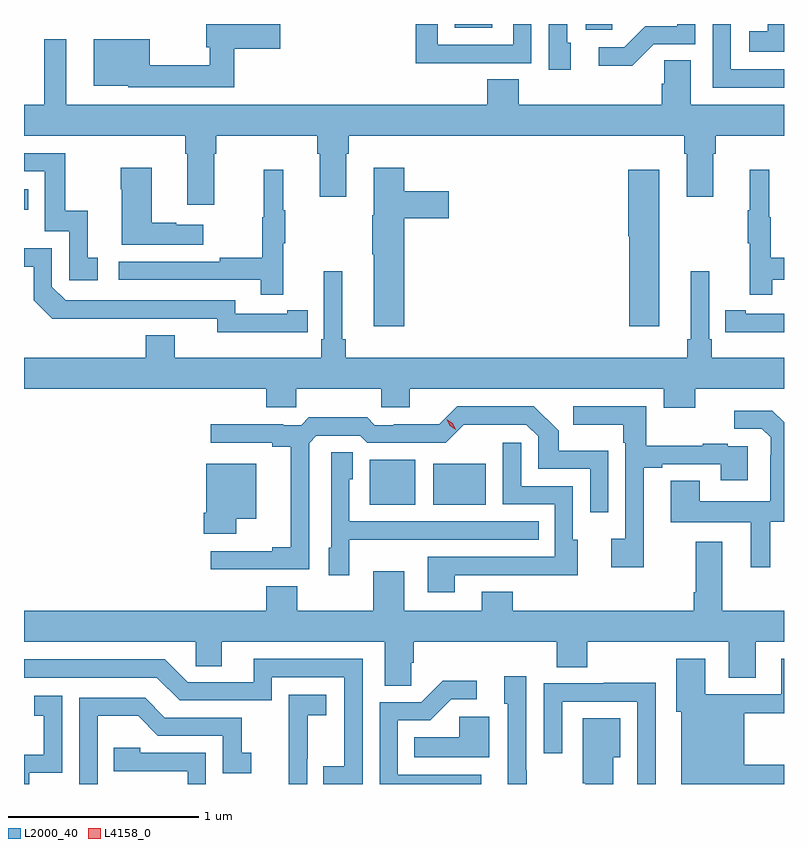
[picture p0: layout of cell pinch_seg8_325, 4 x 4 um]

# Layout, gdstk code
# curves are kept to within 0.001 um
import gdstk
lib = gdstk.Library(unit=1e-6, precision=1e-09)
def R(c, l, rs):  # rectangles x0, y0, x1, y1
    for r in rs: c.add(gdstk.rectangle(r[:2], r[2:], *l))
def P(c, l, *ps):  # polygons
    for p in ps: c.add(gdstk.Polygon(p, *l))
L2000_40 = (2000, 40)
L4158_0 = (4158, 0)

pinch_seg8_325 = lib.new_cell('pinch_seg8_325')
R(pinch_seg8_325, L2000_40, [(396.641,1123.883,396.88,1124.119), (396.974,1123.883,397.252,1124.098), (394.821,1125.435,394.844,1125.541), (397.778,1126.382,397.917,1126.412), (397.088,1126.391,397.285,1126.412)])
P(pinch_seg8_325, L2000_40, [(397.175,1126.206),(397.491,1126.206),(397.491,1126.412),(397.395,1126.412),(397.395,1126.302),(396.999,1126.302),(396.999,1126.412),(396.883,1126.412),(396.883,1126.205),(397.175,1126.205)],
  [(398.136,1126.305),(398.355,1126.305),(398.355,1126.412),(398.259,1126.412),(398.259,1126.401),(398.09,1126.401),(397.979,1126.29),(397.845,1126.29),(397.845,1126.193),(398.023,1126.193)],
  [(395.927,1126.282),(396.169,1126.282),(396.169,1126.412),(395.78,1126.412),(395.78,1126.289),(395.799,1126.289),(395.799,1126.196),(395.482,1126.196),(395.482,1126.333),(395.189,1126.333),(395.189,1126.088),(395.37,1126.088),(395.37,1126.08),(395.927,1126.08)],
  [(398.821,1126.412),(398.735,1126.412),(398.735,1126.375),(398.637,1126.375),(398.637,1126.265),(398.821,1126.265)],
  [(398.821,1126.173),(398.541,1126.173),(398.541,1126.412),(398.445,1126.412),(398.445,1126.077),(398.821,1126.077)],
  [(397.699,1126.314),(397.68,1126.314),(397.68,1126.412),(397.584,1126.412),(397.584,1126.17),(397.699,1126.17)],
  [(395.821,1125.728),(395.834,1125.728),(395.834,1125.824),(396.365,1125.824),(396.365,1125.728),(396.377,1125.728),(396.377,1125.504),(396.517,1125.504),(396.517,1125.728),(396.53,1125.728),(396.53,1125.824),(398.297,1125.824),(398.297,1125.728),(398.309,1125.728),(398.309,1125.504),(398.449,1125.504),(398.449,1125.728),(398.462,1125.728),(398.462,1125.824),(398.821,1125.824),(398.821,1125.988),(398.329,1125.988),(398.329,1126.22),(398.19,1126.22),(398.19,1126.097),(398.177,1126.097),(398.177,1125.988),(397.424,1125.988),(397.424,1126.121),(397.259,1126.121),(397.259,1125.988),(395.044,1125.988),(395.044,1126.333),(394.927,1126.333),(394.927,1125.988),(394.821,1125.988),(394.821,1125.824),(395.669,1125.824),(395.669,1125.728),(395.681,1125.728),(395.681,1125.462),(395.821,1125.462)],
  [(395.209,1125.183),(395.156,1125.183),(395.156,1125.43),(395.038,1125.43),(395.038,1125.732),(394.821,1125.732),(394.821,1125.636),(394.929,1125.636),(394.929,1125.321),(395.058,1125.321),(395.058,1125.063),(395.209,1125.063)],
  [(396.821,1125.389),(397.057,1125.389),(397.057,1125.531),(396.821,1125.531),(396.821,1125.655),(396.662,1125.655),(396.662,1125.405),(396.655,1125.405),(396.655,1125.199),(396.662,1125.199),(396.662,1124.82),(396.821,1124.82)],
  [(395.764,1125.355),(395.621,1125.355),(395.621,1125.365),(395.494,1125.365),(395.494,1125.655),(395.329,1125.655),(395.329,1125.542),(395.336,1125.542),(395.336,1125.251),(395.764,1125.251)],
  [(398.164,1125.646),(398,1125.646),(398,1125.294),(398.006,1125.294),(398.006,1124.82),(398.164,1124.82)],
  [(396.185,1125.259),(396.196,1125.259),(396.196,1125.433),(396.185,1125.433),(396.185,1125.646),(396.082,1125.646),(396.082,1125.396),(396.075,1125.396),(396.075,1125.182),(395.851,1125.182),(395.851,1125.162),(395.319,1125.162),(395.319,1125.066),(396.067,1125.066),(396.067,1124.988),(396.185,1124.988)],
  [(398.759,1125.066),(398.821,1125.066),(398.821,1125.182),(398.752,1125.182),(398.752,1125.396),(398.744,1125.396),(398.744,1125.646),(398.642,1125.646),(398.642,1125.433),(398.631,1125.433),(398.631,1125.259),(398.642,1125.259),(398.642,1124.988),(398.759,1124.988)],
  [(396.206,1124.79),(396.314,1124.79),(396.314,1124.906),(396.206,1124.906),(396.206,1124.886),(395.934,1124.886),(395.934,1124.958),(395.04,1124.958),(394.968,1125.03),(394.968,1125.231),(394.821,1125.231),(394.821,1125.135),(394.872,1125.135),(394.872,1124.958),(394.97,1124.861),(395.838,1124.862),(395.838,1124.789)],
  [(398.353,1124.492),(398.821,1124.492),(398.821,1124.656),(398.441,1124.656),(398.441,1124.752),(398.427,1124.752),(398.427,1125.112),(398.33,1125.112),(398.33,1124.752),(398.311,1124.752),(398.311,1124.656),(396.515,1124.656),(396.515,1124.752),(396.496,1124.752),(396.496,1125.112),(396.399,1125.112),(396.399,1124.752),(396.386,1124.752),(396.386,1124.656),(395.614,1124.656),(395.614,1124.773),(395.462,1124.773),(395.462,1124.656),(394.821,1124.656),(394.821,1124.492),(396.095,1124.492),(396.095,1124.394),(396.255,1124.394),(396.255,1124.492),(396.7,1124.492),(396.7,1124.394),(396.85,1124.394),(396.85,1124.492),(398.189,1124.492),(398.189,1124.393),(398.353,1124.393)],
  [(398.821,1124.886),(398.62,1124.886),(398.62,1124.906),(398.512,1124.906),(398.512,1124.79),(398.62,1124.79),(398.62,1124.789),(398.821,1124.789)],
  [(398.083,1124.076),(398.179,1124.076),(398.179,1124.094),(398.489,1124.094),(398.489,1124.01),(398.629,1124.01),(398.629,1124.19),(398.525,1124.19),(398.525,1124.203),(398.393,1124.203),(398.393,1124.192),(398.095,1124.192),(398.095,1124.4),(397.713,1124.4),(397.713,1124.303),(397.974,1124.303),(397.974,1124.207),(397.986,1124.207),(397.986,1123.702),(397.911,1123.702),(397.911,1123.554),(398.083,1123.554)],
  [(396.321,1124.205),(396.36,1124.244),(396.591,1124.244),(396.627,1124.208),(397.041,1124.208),(397.136,1124.303),(397.464,1124.304),(397.527,1124.241),(397.527,1124.07),(397.8,1124.07),(397.8,1123.842),(397.896,1123.842),(397.896,1124.167),(397.635,1124.167),(397.635,1124.27),(397.504,1124.4),(397.101,1124.4),(397.007,1124.306),(396.766,1124.306),(396.766,1124.301),(396.666,1124.301),(396.627,1124.341),(396.319,1124.341),(396.279,1124.301),(396.185,1124.301),(396.185,1124.306),(395.805,1124.306),(395.805,1124.208),(396.128,1124.208),(396.128,1124.186),(396.224,1124.186),(396.224,1123.658),(396.128,1123.658),(396.128,1123.638),(395.805,1123.638),(395.805,1123.542),(396.321,1123.542)],
  [(398.749,1123.792),(398.821,1123.792),(398.821,1124.315),(398.759,1124.377),(398.559,1124.377),(398.559,1124.283),(398.703,1124.283),(398.75,1124.236),(398.75,1124.141),(398.748,1124.141),(398.748,1123.9),(398.377,1123.9),(398.377,1124.009),(398.225,1124.009),(398.225,1123.79),(398.645,1123.79),(398.645,1123.554),(398.749,1123.554)],
  [(397.087,1123.512),(397.517,1123.512),(397.517,1123.511),(397.735,1123.511),(397.735,1123.698),(397.71,1123.698),(397.71,1123.98),(397.437,1123.98),(397.437,1124.209),(397.341,1124.209),(397.341,1123.884),(397.614,1123.884),(397.614,1123.608),(396.947,1123.608),(396.947,1123.422),(397.087,1123.422)],
  [(396.534,1123.697),(396.851,1123.697),(396.851,1123.698),(397.529,1123.698),(397.529,1123.794),(396.534,1123.794),(396.534,1124.016),(396.55,1124.016),(396.55,1124.159),(396.438,1124.159),(396.438,1123.656),(396.425,1123.656),(396.425,1123.512),(396.534,1123.512)],
  [(395.938,1123.808),(396.043,1123.808),(396.043,1124.098),(395.78,1124.098),(395.78,1123.84),(395.768,1123.84),(395.768,1123.728),(395.938,1123.728)],
  [(396.858,1123.051),(396.872,1123.051),(396.872,1123.16),(397.625,1123.16),(397.625,1123.027),(397.785,1123.027),(397.785,1123.16),(398.531,1123.16),(398.531,1122.97),(398.671,1122.97),(398.671,1123.16),(398.821,1123.16),(398.821,1123.324),(398.497,1123.324),(398.497,1123.687),(398.357,1123.687),(398.357,1123.42),(398.345,1123.42),(398.345,1123.324),(397.393,1123.324),(397.393,1123.423),(397.229,1123.423),(397.229,1123.324),(396.823,1123.324),(396.823,1123.531),(396.659,1123.531),(396.659,1123.324),(396.259,1123.324),(396.259,1123.453),(396.095,1123.453),(396.095,1123.324),(394.821,1123.324),(394.821,1123.16),(395.724,1123.16),(395.724,1123.033),(395.863,1123.033),(395.863,1123.16),(396.719,1123.16),(396.719,1122.928),(396.858,1122.928)],
  [(398.821,1122.514),(398.611,1122.514),(398.611,1122.784),(398.821,1122.784),(398.821,1123.072),(398.807,1123.072),(398.807,1122.885),(398.407,1122.885),(398.407,1123.072),(398.255,1123.072),(398.255,1122.792),(398.279,1122.792),(398.279,1122.412),(398.821,1122.412)],
  [(396.603,1123.071),(396.029,1123.071),(396.029,1122.948),(395.682,1122.948),(395.562,1123.068),(394.821,1123.068),(394.821,1122.972),(395.52,1122.972),(395.64,1122.852),(396.126,1122.852),(396.126,1122.975),(396.507,1122.975),(396.507,1122.506),(396.397,1122.506),(396.397,1122.412),(396.603,1122.412)],
  [(397.467,1122.485),(397.464,1122.485),(397.464,1122.979),(397.349,1122.979),(397.349,1122.834),(397.368,1122.834),(397.368,1122.527),(397.367,1122.527),(397.367,1122.412),(397.467,1122.412)],
  [(397.228,1122.462),(396.789,1122.462),(396.789,1122.747),(396.958,1122.747),(397.069,1122.858),(397.204,1122.858),(397.204,1122.956),(397.025,1122.956),(396.912,1122.843),(396.693,1122.843),(396.693,1122.412),(397.228,1122.412)],
  [(398.146,1122.692),(398.145,1122.692),(398.145,1122.944),(397.873,1122.944),(397.873,1122.942),(397.557,1122.942),(397.557,1122.573),(397.653,1122.573),(397.653,1122.846),(398.049,1122.846),(398.049,1122.412),(398.146,1122.412)],
  [(396.312,1122.545),(396.314,1122.545),(396.314,1122.773),(396.412,1122.773),(396.412,1122.883),(396.214,1122.883),(396.214,1122.677),(396.215,1122.677),(396.215,1122.412),(396.312,1122.412)],
  [(394.848,1122.471),(395.022,1122.471),(395.022,1122.877),(394.876,1122.877),(394.876,1122.771),(394.925,1122.771),(394.925,1122.567),(394.821,1122.567),(394.821,1122.412),(394.848,1122.412)],
  [(395.208,1122.77),(395.422,1122.77),(395.526,1122.666),(395.868,1122.666),(395.868,1122.468),(396.016,1122.468),(396.016,1122.577),(395.967,1122.577),(395.967,1122.762),(395.563,1122.762),(395.458,1122.867),(395.112,1122.867),(395.112,1122.412),(395.208,1122.412)],
  [(397.27,1122.766),(397.113,1122.766),(397.113,1122.658),(396.874,1122.658),(396.874,1122.554),(397.27,1122.554)],
  [(397.921,1122.554),(397.96,1122.554),(397.96,1122.757),(397.763,1122.757),(397.763,1122.417),(397.775,1122.417),(397.775,1122.412),(397.921,1122.412)],
  [(395.778,1122.576),(395.433,1122.576),(395.433,1122.603),(395.293,1122.603),(395.293,1122.48),(395.682,1122.48),(395.682,1122.412),(395.778,1122.412)])
P(pinch_seg8_325, L4158_0, [(397.093,1124.277),(397.062,1124.298),(397.046,1124.331),(397.046,1124.332),(397.046,1124.332),(397.077,1124.311),(397.094,1124.277),(397.094,1124.277)])

lib.write_gds('pinch_seg8_325.gds')
